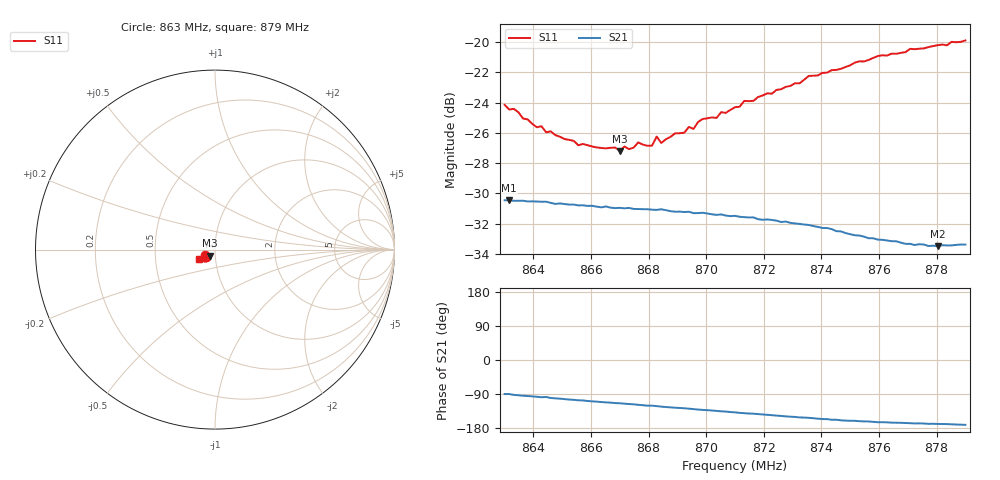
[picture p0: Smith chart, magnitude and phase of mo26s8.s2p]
# HZ S RI R 50
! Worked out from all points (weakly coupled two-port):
!   101 points, 863 MHz to 879 MHz, reference 50 ohm
!   highest |S21| = -30.46 dB at 863.16 MHz (marker M1); lowest = -33.5 dB at 878.04 MHz (marker M2)
!   lowest |S11| = -27.2 dB at 867 MHz (marker M3), VSWR 1.09, Z = 47.1 - j3.13 ohm
!   |S11| at or under -10 dB: start of sweep to end of sweep
!   S12 and S22 are empty: the file has one direction only
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8.63e8  -0.0536 -0.0313  6.5e-05 -0.03  0 0  0 0
8.6316e8  -0.0524 -0.0288  7.7e-05 -0.03  0 0  0 0
8.6332e8  -0.0521 -0.0301  -0.00104 -0.0299  0 0  0 0
8.6444e8  -0.0431 -0.0259  -0.00392 -0.0294  0 0  0 0
8.6572e8  -0.0345 -0.0305  -0.00835 -0.0276  0 0  0 0
8.67e8  -0.0284 -0.0332  -0.0116 -0.0258  0 0  0 0
8.6764e8  -0.0272 -0.0378  -0.0133 -0.0247  0 0  0 0
8.6812e8  -0.0252 -0.0379  -0.0142 -0.024  0 0  0 0
8.6828e8  -0.026 -0.0412  -0.0147 -0.0237  0 0  0 0
8.6844e8  -0.0238 -0.0398  -0.0153 -0.0235  0 0  0 0
8.6892e8  -0.0245 -0.0435  -0.0161 -0.0223  0 0  0 0
8.6924e8  -0.0242 -0.0439  -0.0166 -0.0218  0 0  0 0
8.694e8  -0.025 -0.0461  -0.0171 -0.0215  0 0  0 0
8.6956e8  -0.0242 -0.0456  -0.0174 -0.0209  0 0  0 0
8.6988e8  -0.0252 -0.0497  -0.0181 -0.0204  0 0  0 0
8.7036e8  -0.025 -0.0503  -0.0188 -0.0192  0 0  0 0
8.7052e8  -0.0263 -0.0525  -0.0192 -0.0189  0 0  0 0
8.71e8  -0.0274 -0.0544  -0.0199 -0.0177  0 0  0 0
8.7372e8  -0.0417 -0.0652  -0.0221 -0.0109  0 0  0 0
8.7644e8  -0.066 -0.0636  -0.0212 -0.00558  0 0  0 0
8.7804e8  -0.0796 -0.0567  -0.0207 -0.00412  0 0  0 0
8.79e8  -0.0883 -0.0497  -0.0211 -0.0033  0 0  0 0
